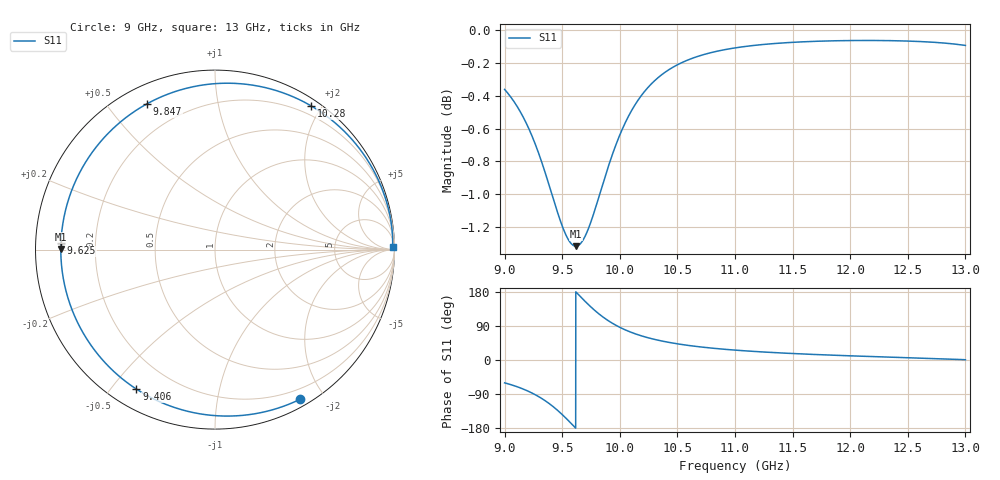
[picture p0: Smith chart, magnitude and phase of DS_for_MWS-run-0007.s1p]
! TOUCHSTONE file generated by CST DESIGN STUDIO
! Date and time: Tue Feb  4 18:42:41 2025
! Project name: C:\Work\MatlabApps\UnitCellOptimizationMatlab\CST\unitcell.cst
! Tree item: Tasks\Sweep1\SPara1\S-Parameters
! Header version: 2024
! Port assignment regex: !\s*Touchstone port\s*([0-9]+)\s*=\s*(CST MWS port|CST DES external port|CST DES block port)\s*(.+)\s* \(\"(.*)\"\)(\s*mode\s*([0-9]+))?.*
! Touchstone port assignment:
! Touchstone port 1 = CST DES external port 1 ("")
# GHz S MA R 50
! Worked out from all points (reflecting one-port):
!   4001 points, 9 GHz to 13 GHz, reference 50 ohm
!   lowest |S11| = -1.3 dB at 9.618 GHz (marker M1), VSWR 13.20, Z = 3.79 + j0.0413 ohm
!   phase of S11 starts at -60 deg and turns -299 deg over the sweep
!   S11 on the Smith chart (normalised r, x): 9 GHz: 0.08, -1.72; 9.406 GHz: 0.08, -0.58; 9.625 GHz: 0.08, +0.02; 9.847 GHz: 0.08, +0.63; 10.28 GHz: 0.08, +1.86; 13 GHz: open
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9  0.9593 -60.3
9.054  0.9542 -65.0
9.126  0.9457 -72.5
9.25  0.9262 -89.0
9.333  0.9091 -103.6
9.406  0.8922 -119.4
9.453  0.8813 -131.1
9.5  0.8715 -144.0
9.562  0.8622 -162.5
9.618  0.8592 179.9
9.625  0.8592 177.7
9.682  0.863 159.8
9.744  0.873 141.4
9.795  0.884 127.6
9.847  0.8963 115.0
9.918  0.9126 100.2
10  0.9291 86.2
10.064  0.9397 77.3
10.13  0.9488 69.5
10.275  0.9632 56.3
10.38  0.9703 49.2
10.5  0.9761 42.7
10.72  0.9829 33.8
11  0.9878 26.1
11.5  0.9916 17.1
12  0.9929 11.0
12.5  0.9925 6.0
13  0.9895 0.7
